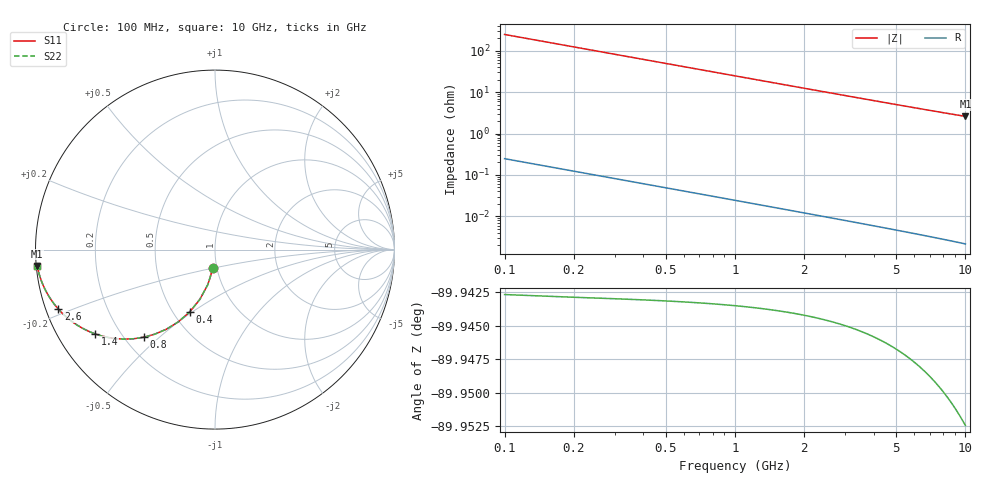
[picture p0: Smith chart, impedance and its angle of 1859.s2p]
# Hz S RI R 50.00
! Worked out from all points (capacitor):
!   100 points, 100 MHz to 10 GHz, reference 50 ohm
!   read as one part in shunt: C = 6.45 pF near 100 MHz
!   lowest |Z| = 2.6 ohm at 10 GHz (marker M1)
!   S11 on the Smith chart (normalised r, x): 100 MHz: 0.96, -0.19; 400 MHz: 0.60, -0.49; 800 MHz: 0.28, -0.45; 1.4 GHz: 0.11, -0.31; 2.6 GHz: 0.04, -0.18; 10 GHz: 0.00, -0.05
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1e8  -0.0102 -0.1002  0.9897 -0.1003  0.9897 -0.1003  -0.0102 -0.1002
2e8  -0.0396 -0.1944  0.9604 -0.1947  0.9604 -0.1947  -0.0396 -0.1944
3e8  -0.0848 -0.2779  0.9152 -0.2782  0.9152 -0.2782  -0.0848 -0.2779
4e8  -0.1413 -0.3476  0.8587 -0.348  0.8587 -0.348  -0.1413 -0.3476
5e8  -0.2044 -0.4025  0.7956 -0.403  0.7956 -0.403  -0.2044 -0.4025
6e8  -0.2699 -0.4431  0.7301 -0.4438  0.7301 -0.4438  -0.2699 -0.4431
7e8  -0.3346 -0.471  0.6654 -0.4718  0.6654 -0.4718  -0.3346 -0.471
8e8  -0.3963 -0.4882  0.6036 -0.4891  0.6036 -0.4891  -0.3963 -0.4882
9e8  -0.4537 -0.4968  0.5462 -0.4979  0.5462 -0.4979  -0.4537 -0.4968
1.1e9  -0.5536 -0.496  0.4464 -0.4973  0.4464 -0.4973  -0.5536 -0.496
1.2e9  -0.596 -0.4895  0.404 -0.4909  0.404 -0.4909  -0.596 -0.4895
1.4e9  -0.6674 -0.4698  0.3326 -0.4714  0.3326 -0.4714  -0.6674 -0.4698
1.6e9  -0.7237 -0.4457  0.2763 -0.4476  0.2763 -0.4476  -0.7237 -0.4457
1.8e9  -0.7681 -0.4205  0.2318 -0.4226  0.2318 -0.4226  -0.7681 -0.4205
2.2e9  -0.8317 -0.3723  0.1682 -0.3749  0.1682 -0.3749  -0.8317 -0.3723
2.6e9  -0.8734 -0.3305  0.1266 -0.3335  0.1266 -0.3335  -0.8734 -0.3305
3.4e9  -0.9217 -0.2661  0.0782 -0.27  0.0782 -0.27  -0.9217 -0.2661
4.2e9  -0.9472 -0.2206  0.0527 -0.2255  0.0527 -0.2255  -0.9472 -0.2206
5.1e9  -0.9636 -0.1838  0.0364 -0.1897  0.0364 -0.1897  -0.9636 -0.1838
6.7e9  -0.9786 -0.1401  0.0213 -0.1481  0.0213 -0.1481  -0.9786 -0.1401
8.4e9  -0.9863 -0.1104  0.0136 -0.1204  0.0136 -0.1204  -0.9863 -0.1104
1e10  -0.9904 -0.0909  0.00953 -0.1029  0.00953 -0.1029  -0.9904 -0.0909
